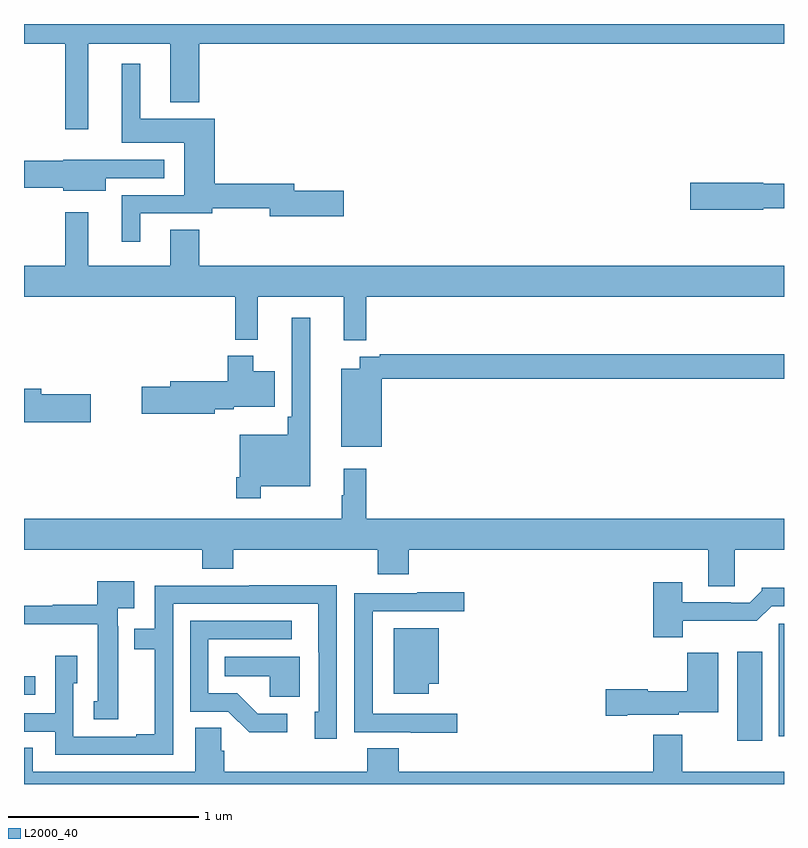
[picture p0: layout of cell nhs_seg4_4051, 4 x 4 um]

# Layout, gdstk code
import gdstk
lib = gdstk.Library(unit=1e-6, precision=1e-09)
def R(c, l, rs):  # rectangles x0, y0, x1, y1
    for r in rs: c.add(gdstk.rectangle(r[:2], r[2:], *l))
def P(c, l, *ps):  # polygons
    for p in ps: c.add(gdstk.Polygon(p, *l))
L2000_40 = (2000, 40)

nhs_seg4_4051 = lib.new_cell('nhs_seg4_4051')
R(nhs_seg4_4051, L2000_40, [(328.754,817.128,328.885,817.597), (328.973,817.152,329,817.743), (325,817.371,325.06,817.467)])
P(nhs_seg4_4051, L2000_40, [(329,820.9),(325,820.9),(325,820.796),(325.218,820.796),(325.218,820.347),(325.339,820.347),(325.339,820.796),(325.769,820.796),(325.769,820.487),(325.922,820.487),(325.922,820.796),(329,820.796)],
  [(325.612,819.903),(325.99,819.903),(325.99,819.93),(326.294,819.93),(326.294,819.887),(326.683,819.887),(326.683,820.022),(326.422,820.022),(326.422,820.058),(326.003,820.058),(326.003,820.402),(325.612,820.402),(325.612,820.69),(325.514,820.69),(325.514,820.274),(325.844,820.274),(325.844,819.999),(325.514,819.999),(325.514,819.753),(325.612,819.753)],
  [(325.429,820.089),(325.738,820.089),(325.738,820.185),(325.425,820.185),(325.425,820.186),(325.206,820.186),(325.206,820.181),(325,820.181),(325,820.039),(325.206,820.039),(325.206,820.022),(325.429,820.022)],
  [(328.89,819.93),(329,819.93),(329,820.058),(328.89,820.058),(328.89,820.064),(328.506,820.064),(328.506,819.922),(328.89,819.922)],
  [(326.801,819.464),(329,819.464),(329,819.628),(325.922,819.628),(325.922,819.818),(325.769,819.818),(325.769,819.628),(325.339,819.628),(325.339,819.91),(325.218,819.91),(325.218,819.628),(325,819.628),(325,819.464),(326.113,819.464),(326.113,819.239),(326.231,819.239),(326.231,819.464),(326.684,819.464),(326.684,819.235),(326.801,819.235)],
  [(326.245,818.468),(326.506,818.468),(326.506,819.355),(326.409,819.355),(326.409,818.833),(326.389,818.833),(326.389,818.737),(326.136,818.737),(326.136,818.515),(326.116,818.515),(326.116,818.403),(326.245,818.403)],
  [(326.884,819.034),(329,819.034),(329,819.163),(326.872,819.163),(326.872,819.15),(326.768,819.15),(326.768,819.085),(326.669,819.085),(326.669,818.675),(326.884,818.675)],
  [(326.004,818.873),(326.104,818.873),(326.104,818.885),(326.32,818.885),(326.32,819.073),(326.206,819.073),(326.206,819.154),(326.072,819.154),(326.072,819.021),(325.769,819.021),(325.769,818.991),(325.62,818.991),(325.62,818.849),(326.004,818.849)],
  [(325.351,818.951),(325.09,818.951),(325.09,818.98),(325,818.98),(325,818.804),(325.351,818.804)],
  [(328.741,818.132),(329,818.132),(329,818.296),(326.801,818.296),(326.801,818.56),(326.684,818.56),(326.684,818.42),(326.673,818.42),(326.673,818.296),(325,818.296),(325,818.132),(325.937,818.132),(325.937,818.033),(326.102,818.033),(326.102,818.132),(326.861,818.132),(326.861,818.004),(327.026,818.004),(327.026,818.132),(328.601,818.132),(328.601,817.942),(328.741,817.942)],
  [(325.495,817.73),(325.494,817.73),(325.494,817.826),(325.579,817.826),(325.579,817.966),(325.386,817.966),(325.386,817.844),(325.152,817.844),(325.152,817.839),(325,817.839),(325,817.742),(325.388,817.742),(325.388,817.335),(325.367,817.335),(325.367,817.242),(325.495,817.242)],
  [(328.468,817.758),(328.857,817.758),(328.935,817.836),(329,817.836),(329,817.933),(328.884,817.933),(328.884,817.918),(328.82,817.854),(328.721,817.854),(328.721,817.857),(328.465,817.857),(328.465,817.963),(328.313,817.963),(328.313,817.673),(328.468,817.673)],
  [(325.785,817.848),(326.549,817.848),(326.549,817.594),(326.55,817.594),(326.55,817.281),(326.531,817.281),(326.531,817.137),(326.646,817.137),(326.646,817.946),(326.185,817.946),(326.185,817.944),(325.689,817.944),(325.689,817.716),(325.58,817.716),(325.58,817.608),(325.688,817.608),(325.688,817.162),(325.592,817.162),(325.592,817.149),(325.26,817.149),(325.26,817.431),(325.279,817.431),(325.279,817.576),(325.164,817.576),(325.164,817.272),(325,817.272),(325,817.176),(325.164,817.176),(325.164,817.053),(325.785,817.053)],
  [(327.28,817.269),(326.835,817.269),(326.835,817.809),(327.316,817.809),(327.316,817.909),(327.071,817.909),(327.071,817.905),(326.739,817.905),(326.739,817.173),(327.035,817.173),(327.035,817.169),(327.28,817.169)],
  [(326.386,817.269),(326.23,817.269),(326.122,817.377),(325.971,817.377),(325.971,817.662),(326.41,817.662),(326.41,817.758),(325.875,817.758),(325.875,817.281),(326.076,817.281),(326.186,817.172),(326.386,817.172)],
  [(327.131,817.427),(327.184,817.427),(327.184,817.72),(326.945,817.72),(326.945,817.376),(327.131,817.376)],
  [(328.174,817.265),(328.446,817.265),(328.446,817.277),(328.654,817.277),(328.654,817.591),(328.492,817.591),(328.492,817.387),(328.284,817.387),(328.284,817.4),(328.062,817.4),(328.062,817.258),(328.174,817.258)],
  [(326.452,817.57),(326.056,817.57),(326.056,817.466),(326.294,817.466),(326.294,817.358),(326.452,817.358)],
  [(326.054,817.076),(326.039,817.076),(326.039,817.196),(325.901,817.196),(325.901,816.964),(325.045,816.964),(325.045,817.091),(325,817.091),(325,816.9),(329,816.9),(329,816.964),(328.465,816.964),(328.465,817.159),(328.313,817.159),(328.313,816.964),(326.972,816.964),(326.972,817.088),(326.807,817.088),(326.807,816.964),(326.054,816.964)])

lib.write_gds('nhs_seg4_4051.gds')
